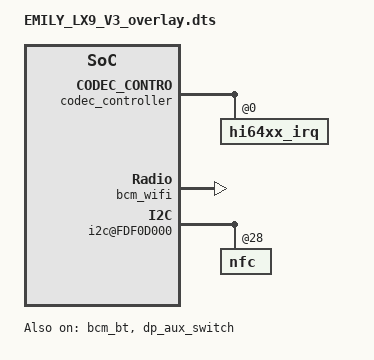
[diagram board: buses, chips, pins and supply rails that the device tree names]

/**
 * Copyright (C) 2014 Hisilicon Ltd.
 *
 *  This program is free software; you can redistribute it and/or modify
 *  it under the terms of the GNU General Public License version 2 as
 *  publishhed by the Free Software Foundation.
 */

/dts-v1/;
/plugin/;
/include/ "EMILY_TUGL_V1_overlay.dtsi"

/ {
        board_id = <6507>;
};

&rootparam {
        hisi,dtbo_idx = <196>;
    hisi,boardid = <6 5 0 7>;
    hisi,boardname = "EMILY_LX9_V3";
};

&audio_hw_config {
		audio_capability {
			/*
				use hisilicon wakeup engine.
				true: use hisilicon wakeup engine.
				false: DO NOT use hisilicon wakeup engine.
			*/
			wakeup_hisiengine = "false";
		};
	};

/* audio device beg */
&codec_controller {
    hi64xx_irq@0{
        hi6403_codec@0 {
            hisilicon,wakeup_hisi_algo_support = <0>;
        };
    };
};

&fastboot_pmic {
       hisilicon,init-reg-num = <0>;
       hisilicon,init-reg-addrs = <0>;
       hisilicon,init-reg-vals  = <0>;
};

&bcm_wifi {
       wifi_fw_test_name = "/vendor/firmware/fw_bcm4359_nonsig.bin";
       wifi_fw_ap_name = "/vendor/firmware/fw_bcm4359_apsta_hw.bin";
       wifi_fw_name = "/vendor/firmware/fw_bcm4359_hw.bin";
       wifi_nvram_name = "/vendor/firmware/nvram4359_hw_emily_v1.txt";
};

&bcm_bt {
	ic_type = "bcm4359";
	bt_fw_type = "xtal";
	status = "ok";
};

        &huawei_lcd_panel {
                product_id = <4000>;
        };

&dp_aux_switch {
    aux_switch_from_fsa4476;
    status = "ok";
};

&amba {
    i2c@FDF0D000 {
        nfc@28 {
            clk_status ="xtal";
        };
    };
};


&sensorhub{
                sar{
                        sar1{
                               status = "ok";
                        };
                        sar2{
                                status = "ok";
                        };
                };
             rpc{
			rpc{
				compatible = "huawei,rpc";
				file_id = <0x18>;
				sensor_list_info_id = <24>;
				sensor_type = "rpc";
				sensorlist_name = "rpc";
				mask = <0xFFFF 0x63F 0x63F 0x63F 0x63E 0x63C 0x63E 0x63C
					0x63E 0x63C 0xC20F 0xC20F 0x20F 0x20F 0x20F 0x20F
					0x20F 0x20F 0x20F 0x20F 0xFFFF 0xFFFF 0xFFFF 0xFFFF
					0xFFFF 0xFFFF 0xFFFF 0xFFFF 0xFFFF 0xF 0xFFFF 0xFFFF>;
				table = <0xFFFF 0x217 0x227 0x207 0x212 0x214 0x222 0x224
					 0x202 0x204 0x8002 0x8005 0x2 0x3 0x4 0x5
					 0x6 0x7 0x201 0x1 0xFFFF 0xFFFF 0xFFFF 0xFFFF
					 0xFFFF 0xFFFF 0xFFFF 0xFFFF 0xFFFF 0x0 0xFFFF 0xFFFF>;
				default_value = <0x1D>;
				status = "ok";
			};
		};
                light{
                        als1{
                               als_phone_version = <101>;
                        };
                };
        };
